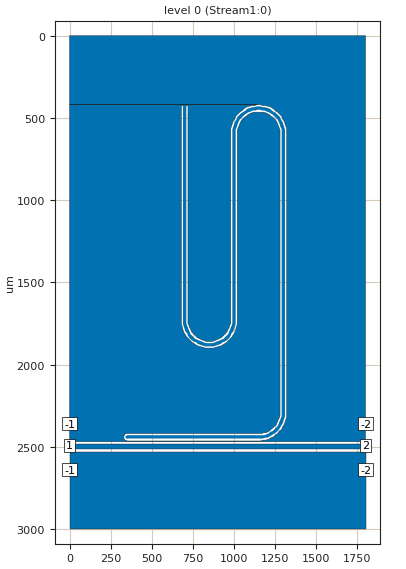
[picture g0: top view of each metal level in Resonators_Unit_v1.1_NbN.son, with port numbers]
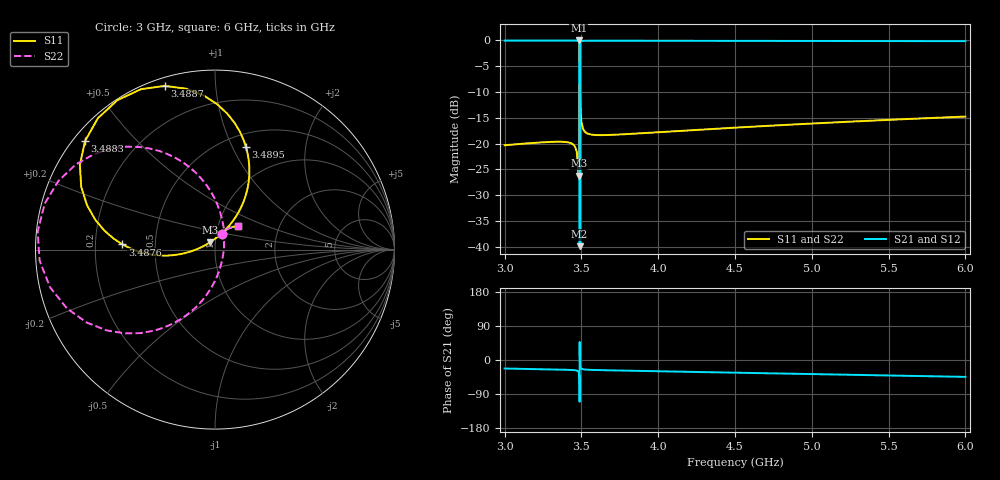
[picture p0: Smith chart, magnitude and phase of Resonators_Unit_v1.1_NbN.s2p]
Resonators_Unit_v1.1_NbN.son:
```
FTYP SONPROJ 12 ! Sonnet Project File
VER 14.52
HEADER
LIC Sonn.1.12345
DAT 05/16/2020 05:36:57
BUILT_BY_CREATED gds 14.52 05/14/2020 05:50:22
BUILT_BY_SAVED xgeom 14.52
MDATE 05/16/2020 04:55:45
HDATE 05/16/2020 03:26:38
END HEADER
DIM
FREQ GHZ
IND NH
LNG UM
ANG DEG
CON /OH
CAP PF
RES OH
END DIM
FREQ
SIMPLE 4.0 5.0 1.0e-4
ABS 3.0 7.0 
ABS_FMIN NET= S21 3.48 3.5 
END FREQ
CONTROL
STD
OPTIONS  -d 
SPEED 0
CACHE_ABS 1
TARG_ABS 300
Q_ACC N
END CONTROL
GEO
TMET "Free Space" 0 FREESPACE 376.7303136 0 0 0
BMET "Lossless" 0 SUP 0 0 0 0
MET "NbN" 4 SUP 0 3.924e-26 0 6
MET "Aluminum" 1 NOR 37200000 0 0.2 
BOX 1 1800 3000 720 1200 20 0
      1000 1 1 0 0 0 0 "Air"
      500 11.9 1 1e-07 0 4.4e-15 0 "Silicon (intrinsic)"
TECHLAY METAL Stream1:0 <UNSPECIFIED> 1 0 
0 0 0 N 0 1 1 100 100 0 0 0 Y
END
END
LORGN 0 3000 U 
POR1 STD
POLY 11 1
1
-1 50 0 0 0 0 2640 
POR1 STD
POLY 11 1
3
-2 50 0 0 0 1800 2640 
POR1 STD
POLY 14 1
1
1 50 0 0 0 0 2492.5 
POR1 STD
POLY 14 1
3
2 50 0 0 0 1800 2492.5 
POR1 STD
POLY 17 1
0
-1 50 0 0 0 0 2360 
POR1 STD
POLY 17 1
187
-2 50 0 0 0 1800 2360 
NUM 4
0 7 -1 N 11 1 1 100 100 0 0 0 Y
TLAYNAM Stream1:0 INH
0 3000
0 2750
0 2530
1800 2530
1800 2750
1800 3000
0 3000
END
0 7 -1 N 14 1 1 100 100 0 0 0 Y
TLAYNAM Stream1:0 INH
0 2515
0 2500
0 2485
1800 2485
1800 2500
1800 2515
0 2515
END
0 190 -1 N 17 1 1 100 100 0 0 0 Y
TLAYNAM Stream1:0 INH
0 2470
0 2250
0 420
1140 420
1125 425
1110 425
1090 430
1075 435
1060 445
1050 455
1035 465
1025 475
1010 490
1005 505
995 520
990 535
985 550
980 565
980 585
980 1735
980 1750
975 1760
970 1775
965 1785
960 1795
955 1805
945 1815
935 1825
925 1835
915 1840
905 1845
895 1850
880 1855
870 1860
855 1860
845 1860
830 1860
820 1855
805 1850
795 1845
785 1840
775 1835
765 1825
755 1815
745 1805
740 1795
735 1785
730 1775
725 1760
720 1750
720 1735
720 430
720 425
710 425
710 430
690 430
690 425
680 425
680 1740
680 1755
685 1770
690 1790
695 1805
705 1820
710 1830
725 1845
735 1855
750 1870
760 1875
775 1885
790 1890
810 1895
825 1900
840 1900
860 1900
875 1900
890 1895
910 1890
925 1885
940 1875
950 1870
965 1855
975 1845
990 1830
995 1820
1005 1805
1010 1790
1015 1770
1020 1755
1020 1740
1020 585
1020 575
1025 560
1030 550
1035 535
1040 525
1045 515
1055 505
1065 495
1075 490
1085 480
1095 475
1105 470
1120 465
1130 465
1145 465
1155 465
1170 465
1180 465
1195 470
1205 475
1215 480
1225 490
1235 495
1245 505
1255 515
1260 525
1265 535
1270 550
1275 560
1280 575
1280 585
1280 2295
1280 2310
1275 2325
1270 2335
1265 2345
1260 2360
1255 2370
1225 2395
1215 2405
1205 2410
1195 2415
1180 2415
1170 2420
1155 2420
345 2420
345 2420
345 2420
335 2425
335 2430
330 2435
330 2435
330 2440
330 2445
330 2445
330 2450
335 2455
335 2460
345 2460
345 2460
345 2465
1160 2465
1175 2460
1190 2460
1210 2455
1225 2445
1240 2440
1250 2430
1265 2420
1275 2405
1290 2395
1295 2380
1305 2365
1310 2350
1315 2335
1320 2320
1320 2300
1320 585
1320 565
1315 550
1310 535
1305 520
1295 505
1290 490
1275 475
1265 465
1250 455
1240 445
1225 435
1210 430
1190 425
1175 425
1160 420
0 420
0 0
1800 0
1800 2250
1800 2470
0 2470
END
0 175 0 V 20 1 1 100 100 0 0 0 Y
TLAYNAM Stream1:0 NOH
710 1735
710 1750
715 1765
720 1775
725 1790
730 1800
735 1815
745 1825
755 1835
765 1845
780 1850
790 1855
805 1860
815 1865
830 1870
845 1870
855 1870
870 1870
885 1865
895 1860
910 1855
920 1850
935 1845
945 1835
955 1825
965 1815
970 1800
975 1790
980 1775
985 1765
990 1750
990 1735
990 585
990 570
995 555
1000 540
1005 525
1015 510
1020 495
1030 485
1040 475
1055 465
1070 455
1080 445
1095 440
1110 435
1125 435
1140 430
1160 430
1175 435
1190 435
1205 440
1220 445
1230 455
1245 465
1260 475
1270 485
1280 495
1285 510
1295 525
1300 540
1305 555
1310 570
1310 585
1310 2300
1310 2315
1305 2330
1300 2345
1295 2360
1285 2375
1280 2385
1270 2400
1260 2410
1245 2420
1230 2430
1220 2435
1205 2445
1190 2445
1175 2450
1160 2450
350 2450
345 2450
345 2450
340 2445
340 2445
340 2445
340 2440
340 2440
340 2435
345 2435
345 2435
350 2430
1155 2430
1170 2430
1185 2430
1195 2425
1210 2420
1220 2410
1235 2405
1245 2395
1255 2385
1265 2375
1270 2365
1275 2350
1280 2340
1285 2325
1290 2315
1290 2300
1290 585
1290 570
1285 560
1280 545
1275 530
1270 520
1265 510
1255 500
1245 490
1235 480
1220 470
1210 465
1195 460
1185 455
1170 455
1155 450
1145 450
1130 455
1115 455
1105 460
1090 465
1080 470
1065 480
1055 490
1045 500
1035 510
1030 520
1025 530
1020 545
1015 560
1010 570
1010 585
1010 1740
1010 1755
1005 1770
1000 1785
995 1800
985 1810
980 1825
970 1840
960 1850
945 1860
930 1865
920 1875
905 1880
890 1885
875 1890
860 1890
840 1890
825 1890
810 1885
795 1880
780 1875
770 1865
755 1860
740 1850
730 1840
720 1825
715 1810
705 1800
700 1785
695 1770
690 1755
690 1740
690 430
710 430
710 1735
END
END GEO
OPT
MAX 100
VARS
END
END OPT
VARSWP
END VARSWP
FILEOUT
END FILEOUT
QSG
IMPORT NO
EXTRA_METAL NO
UNITS NO
ALIGN NO
REF NO
VIEW_RES NO
METALS NO
USED NO
END QSG
```
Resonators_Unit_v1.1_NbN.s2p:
! Sonnet Data File
! From: emgraph Version : 14.52
! From Emgraph Data: Resonators_Unit_v1.1_NbN
! Data File Written: 05/16/2020 05:36:45
!< HDATE 05/16/2020 03:26:38
!< MDATE 05/16/2020 04:55:45
# GHZ S MA R 50.00000
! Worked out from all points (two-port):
!   499 points, 3 GHz to 6 GHz, reference 50 ohm
!   highest |S21| = -0.01 dB at 3.4822 GHz (marker M1); lowest = -39.9 dB at 3.4885 GHz (marker M2)
!   |S21| within 3 dB of the highest: start of sweep to 3.4879 GHz; 3.4892 GHz to end of sweep
!   lowest |S11| = -26.2 dB at 3.4823 GHz (marker M3), VSWR 1.10, Z = 47.2 + j3.86 ohm
!   |S11| at or under -10 dB: start of sweep to 3.487 GHz; 3.4913 GHz to end of sweep
!   |S22| runs from -26.2 to -0.1 dB; largest |S21 - S12| = 4.7e-11
!   S11 on the Smith chart (normalised r, x): 3 GHz: 1.06, +0.19; 3.4876 GHz: 0.32, +0.02; 3.4883 GHz: 0.03, +0.36; 3.4887 GHz: 0.04, +0.74; 3.4895 GHz: 0.64, +1.13; 6 GHz: 1.24, +0.34
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3  0.0966 67.9  0.9953 -22.5  0.9953 -22.5  0.0966 67.1
!< P1 F=3.0 Eeff=(10.6478139 -2.1397e-5) Z0=(62.9273972 -4.2679e-5) R=0.0 C=0.0
!< P2 F=3.0 Eeff=(10.6478139 -2.1397e-5) Z0=(62.9273972 -4.2679e-5) R=0.0 C=0.0
3.4822  0.04889 121.6  0.9987 -31.7  0.9987 -31.7  0.04885 -5.0
3.4823  0.04889 123.4  0.9987 -31.8  0.9987 -31.8  0.04884 -7.0
3.4876  0.5162 176.8  0.8541 -62.8  0.8541 -62.8  0.5154 -122.9
3.4883  0.9438 140.1  0.3139 -102.4  0.3139 -102.4  0.9424 -167.1
3.4885  0.9944 123.1  0.01017 -83.8  0.01017 -83.8  0.993 174.1
3.4887  0.9542 107.1  0.2826 40.6  0.2826 40.6  0.9529 156.4
3.4895  0.5966 73.2  0.8006 4.7  0.8006 4.7  0.5959 116.6
3.55  0.1238 62.2  0.9923 -25.9  0.9923 -25.9  0.1238 66.0
4.5  0.1429 56.6  0.9896 -33.5  0.9896 -33.5  0.1429 56.4
6  0.183 45.7  0.983 -44.5  0.983 -44.5  0.183 45.2
